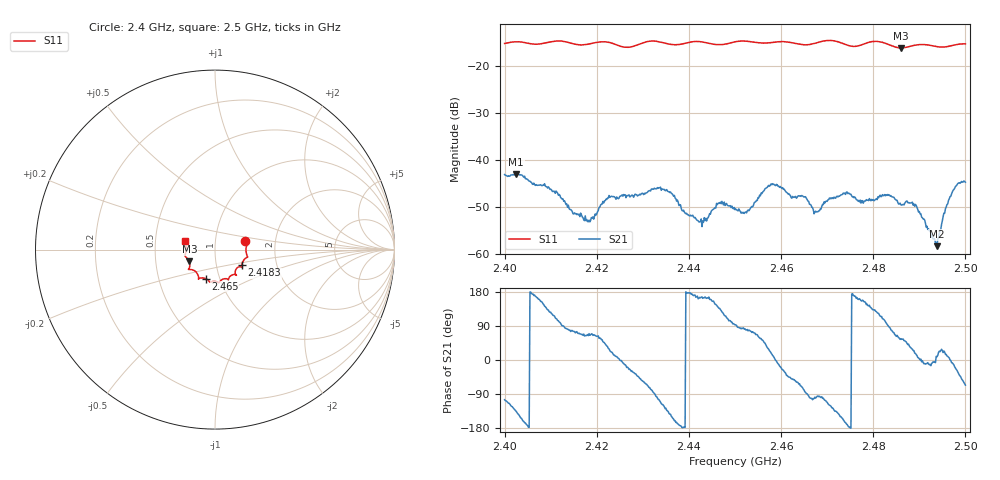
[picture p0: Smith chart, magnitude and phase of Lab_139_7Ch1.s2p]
# Hz S RI R 50
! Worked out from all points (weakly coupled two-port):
!   601 points, 2.4 GHz to 2.5 GHz, reference 50 ohm
!   highest |S21| = -42.96 dB at 2.4025 GHz (marker M1); lowest = -58.4 dB at 2.4938 GHz (marker M2)
!   lowest |S11| = -16.1 dB at 2.486 GHz (marker M3), VSWR 1.37, Z = 37.2 - j4.97 ohm
!   |S11| at or under -10 dB: start of sweep to end of sweep
!   S12 and S22 are empty: the file has one direction only
!   S11 on the Smith chart (normalised r, x): 2.4 GHz: 1.40, +0.13; 2.4183 GHz: 1.33, -0.24; 2.465 GHz: 0.86, -0.29; 2.5 GHz: 0.71, +0.07
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2.4e9  0.1695 0.0458  -0.00181 -0.00677  0 0  0 0
2.4025e9  0.18 0.0349  -0.00508 -0.00497  0 0  0 0
2.409167e9  0.1769 -0.0288  -0.00364 0.00368  0 0  0 0
2.416667e9  0.1549 -0.0681  0.00101 0.00241  0 0  0 0
2.418333e9  0.1499 -0.0872  0.0008 0.00214  0 0  0 0
2.422833e9  0.1504 -0.0982  0.00362 0.00169  0 0  0 0
2.433333e9  0.1177 -0.1411  -0.00121 -0.00485  0 0  0 0
2.442333e9  0.0739 -0.1681  -0.00211 0.000556  0 0  0 0
2.446667e9  0.047 -0.1636  -0.0025 0.00238  0 0  0 0
2.45e9  0.0255 -0.1811  -0.000149 0.00295  0 0  0 0
2.4525e9  0.0203 -0.1845  0.000498 0.00268  0 0  0 0
2.457833e9  -0.0169 -0.1785  0.00528 0.00177  0 0  0 0
2.465e9  -0.0522 -0.1618  0.000745 -0.00396  0 0  0 0
2.466667e9  -0.0714 -0.1574  -0.000609 -0.00307  0 0  0 0
2.473833e9  -0.094 -0.1443  -0.00427 -0.00123  0 0  0 0
2.4775e9  -0.1277 -0.1121  -0.00336 0.00152  0 0  0 0
2.483333e9  -0.1413 -0.0962  9.42e-05 0.0042  0 0  0 0
2.486e9  -0.1431 -0.0651  0.00185 0.00277  0 0  0 0
2.489e9  -0.163 -0.041  0.00306 0.000993  0 0  0 0
2.493833e9  -0.1619 -0.011  0.00119 0.00018  0 0  0 0
2.496833e9  -0.1635 0.0261  0.0041 -9.33e-05  0 0  0 0
2.5e9  -0.1671 0.0471  0.00234 -0.00531  0 0  0 0
